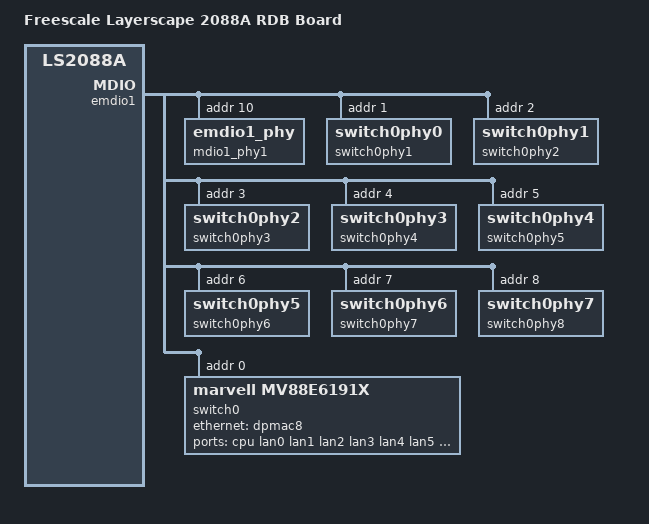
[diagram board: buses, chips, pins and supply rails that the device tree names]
// SPDX-License-Identifier: (GPL-2.0+ OR MIT)
/*
 * Device Tree file for Freescale LS2088A RDB Board.
 *
 * Copyright 2016 Freescale Semiconductor, Inc.
 * Copyright 2017 NXP
 *
 * Abhimanyu Saini <abhimanyu.saini@nxp.com>
 *
 */

/dts-v1/;

#include "fsl-ls2088a_m390.dtsi"
#include "fsl-ls208xa-rdb_m390.dtsi"

/ {
	model = "Freescale Layerscape 2088A RDB Board";
	compatible = "fsl,ls2088a-rdb", "fsl,ls2088a";

	chosen {
		stdout-path = "serial1:115200n8";
	};
};

&emdio1 {
	status = "okay";
#if 0
	/* CS4340 PHYs */
	mdio1_phy1: emdio1_phy@1 {
		reg = <0x10>;
		phy-connection-type = "xfi";
	};
	mdio1_phy2: emdio1_phy@2 {
		reg = <0x11>;
		phy-connection-type = "xfi";
	};
	mdio1_phy3: emdio1_phy@3 {
		reg = <0x12>;
		phy-connection-type = "xfi";
	};
	mdio1_phy4: emdio1_phy@4 {
		reg = <0x13>;
		phy-connection-type = "xfi";
	};
#endif
	mdio1_phy1: emdio1_phy@1 {
		reg = <0xa>;
		phy-connection-type = "xfi";
	};
	switch0phy1: switch0phy0@1 {
		reg = <0x1>;
	};
	switch0phy2: switch0phy1@2 {
		reg = <0x2>;
	};
	switch0phy3: switch0phy2@3 {
		reg = <0x3>;
	};
	switch0phy4: switch0phy3@4 {
		reg = <0x4>;
	};
	switch0phy5: switch0phy4@5 {
		reg = <0x5>;
	};
	switch0phy6: switch0phy5@6 {
		reg = <0x6>;
	};
	switch0phy7: switch0phy6@7 {
		reg = <0x7>;
	};
	switch0phy8: switch0phy7@8 {
		reg = <0x8>;
	};

	switch0: switch0@0 {
		compatible = "marvell,mv88e6191X";
		#address-cells = <1>;
		#size-cells = <0>;
		reg = <0>;

		ports {
			#address-cells = <1>;
			#size-cells = <0>;

			cpuport1: port@10 {
				reg = <10>;
				label = "cpu";
				ethernet = <&dpmac8>;
				phy-mode = "10gbase-kr";
	            fixed-link {
	                speed = <1000>;
	                full-duplex;
	            };
			};

			port@0 {
				reg = <0>;
				label = "lan0";
				status = "disabled";
			};

			port@1 {
				reg = <1>;
				label = "lan1";
				cpu = <&cpuport1>;
			};

			port@2 {
				reg = <2>;
				label = "lan2";
				cpu = <&cpuport1>;
			};

			port@3 {
				reg = <3>;
				label = "lan3";
				cpu = <&cpuport1>;
			};

			port@4 {
				reg = <4>;
				label = "lan4";
				cpu = <&cpuport1>;
			};

			port@5 {
				reg = <5>;
				label = "lan5";
				cpu = <&cpuport1>;
			};

			port@6 {
				reg = <6>;
				label = "lan6";
				cpu = <&cpuport1>;
			};

			port@7 {
				reg = <7>;
				label = "lan7";
				cpu = <&cpuport1>;
			};

			port@8 {
				reg = <8>;
				label = "lan8";
				cpu = <&cpuport1>;
			};
		};
	};
};

&emdio2 {
	status = "disabled";

	/* AQR405 PHYs */
	mdio2_phy1: emdio2_phy@1 {
		compatible = "ethernet-phy-ieee802.3-c45";
		interrupts = <0 1 0x4>; /* Level high type */
		reg = <0x0>;
		phy-connection-type = "xfi";
	};
	mdio2_phy2: emdio2_phy@2 {
		compatible = "ethernet-phy-ieee802.3-c45";
		interrupts = <0 2 0x4>; /* Level high type */
		reg = <0x1>;
		phy-connection-type = "xfi";
	};
	mdio2_phy3: emdio2_phy@3 {
		compatible = "ethernet-phy-ieee802.3-c45";
		interrupts = <0 4 0x4>; /* Level high type */
		reg = <0x2>;
		phy-connection-type = "xfi";
	};
	mdio2_phy4: emdio2_phy@4 {
		compatible = "ethernet-phy-ieee802.3-c45";
		interrupts = <0 5 0x4>; /* Level high type */
		reg = <0x3>;
		phy-connection-type = "xfi";
	};
};

&pcs_mdio1 {
	status = "disabled";

	pcs_phy1: ethernet-phy@0 {
		backplane-mode = "10gbase-kr";
		compatible = "ethernet-phy-ieee802.3-c45";
		reg = <0xa>;
		fsl,lane-handle = <&serdes1>;
		fsl,lane-reg = <0x9C0 0x40>;/* lane H */
	};
};

/* Update DPMAC connections to external PHYs, under the assumption of
 * SerDes 0x2a_0x41. This is currently the only SerDes supported on the board.
 */
/* Leave Cortina PHYs commented out until proper driver is integrated
 *&dpmac1 {
 *	phy-handle = <&mdio1_phy1>;
 *};
 *&dpmac2 {
 *	phy-handle = <&mdio1_phy2>;
 *};
 *&dpmac3 {
 *	phy-handle = <&mdio1_phy3>;
 *};
 *&dpmac4 {
 *	phy-handle = <&mdio1_phy4>;
 *};
 */

#if 0
&dpmac5 {
	phy-handle = <&mdio2_phy1>;
};
&dpmac6 {
	phy-handle = <&mdio2_phy2>;
};
&dpmac7 {
	phy-handle = <&mdio2_phy3>;
};
#endif

&dpmac8 {
	phy-handle = <&mdio1_phy1>;
};
